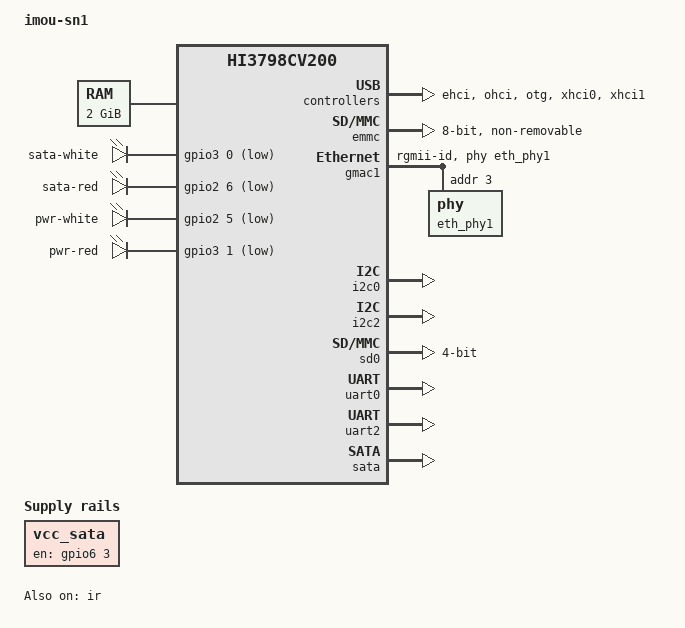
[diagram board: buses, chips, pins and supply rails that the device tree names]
/dts-v1/;
/memreserve/ 0x00000000 0x04080000;
/* reserved for bootloader */

#include <dt-bindings/gpio/gpio.h>
#include "hi3798cv200.dtsi"
#include "poplar-pinctrl.dtsi"

/ {
	model = "imou-sn1";
	compatible = "imou,sn1", "hisilicon,hi3798cv200";

	aliases {
		serial0 = &uart0;
		serial2 = &uart2;
	};

	chosen {
		stdout-path = "serial0:115200n8";
	};

	memory@0 {
		device_type = "memory";
		reg = <0x0 0x0 0x0 0x80000000>;
	};

	leds {
		compatible = "gpio-leds";

		sata-white {
			label = "sata-white";
			gpios = <&gpio3 0 GPIO_ACTIVE_LOW>;
			default-state = "off";
		};

		sata-red {
			label = "sata-red";
			gpios = <&gpio2 6 GPIO_ACTIVE_LOW>;
			default-state = "off";
		};

		pwr-white {
			label = "pwr-white";
			gpios = <&gpio2 5 GPIO_ACTIVE_LOW>;
			default-state = "on";
		};

		pwr-red {
			label = "pwr-red";
			gpios = <&gpio3 1 GPIO_ACTIVE_LOW>;
			default-state = "off";
		};
	};

	vcc_sata: regulator-vcc-sata {
		compatible = "regulator-fixed";
		regulator-name = "vcc-sata";
		gpio = <&gpio6 3 GPIO_ACTIVE_HIGH>;
		enable-active-high;
	};
};

&ehci {
	status = "okay";
};

&emmc {
	status = "okay";
	num-slots = <1>;
	fifo-depth = <256>;
	clock-frequency = <100000000>;
	cap-mmc-highspeed;
	mmc-ddr-1_8v;
	mmc-hs200-1_8v;
	non-removable;
	bus-width = <8>;
};

&gmac1 {
	status = "okay";
	#address-cells = <1>;
	#size-cells = <0>;
	phy-handle = <&eth_phy1>;
	phy-mode = "rgmii-id";
	hisilicon,phy-reset-delays-us = <30000 30000 50000>;

	eth_phy1: phy@3 {
		reg = <3>;
	};
};

&i2c0 {
	status = "okay";
};

&i2c2 {
	status = "okay";
};

&ohci {
	status = "okay";
};

&otg {
	status = "okay";
};

&sd0 {
	bus-width = <4>;
	cap-sd-highspeed;
	status = "okay";
};

&uart0 {
	status = "okay";
};

&uart2 {
	status = "okay";
};

&xhci0 {
	status = "okay";
};

&xhci1 {
	status = "okay";
};

&sata {
	status = "okay";
	target-supply = <&vcc_sata>;
};

&combphy1 {
	assigned-clocks = <&crg 80>;
	assigned-clock-parents = <&crg 66>;
	assigned-clock-rates = <25000000>;
};

&pmx0 {
	pinctrl-names = "default";
	pinctrl-0 = <
		&emmc_p1_pmx_cfg
		&emmc_p2_pmx_cfg
		&emmc_p3_pmx_cfg
		&emmc_p4_pmx_cfg
		&gpu_pmx_cfg
		&i2c0_pmx_cfg
		&gpio_pmx_cfg
		&bt_uart2_p1_pmx_cfg
		&bt_uart2_p2_pmx_cfg
		&pcm_pmx_cfg
		&i2c2_p1_pmx_cfg
		&i2c2_p2_pmx_cfg
		&mute_pmx_cfg
		&spdif_pmx_cfg
		&rgmii1_p1_pmx_cfg
		&rgmii1_p2_pmx_cfg
		&rgmii1_p3_pmx_cfg
		&sdio0_p1_pmx0_cfg
		&sdio0_p2_pmx0_cfg
		&sdio0_p3_pmx0_cfg
	>;
};

&mali {
	status = "disabled";
};

&ir {
	status = "okay";
};

